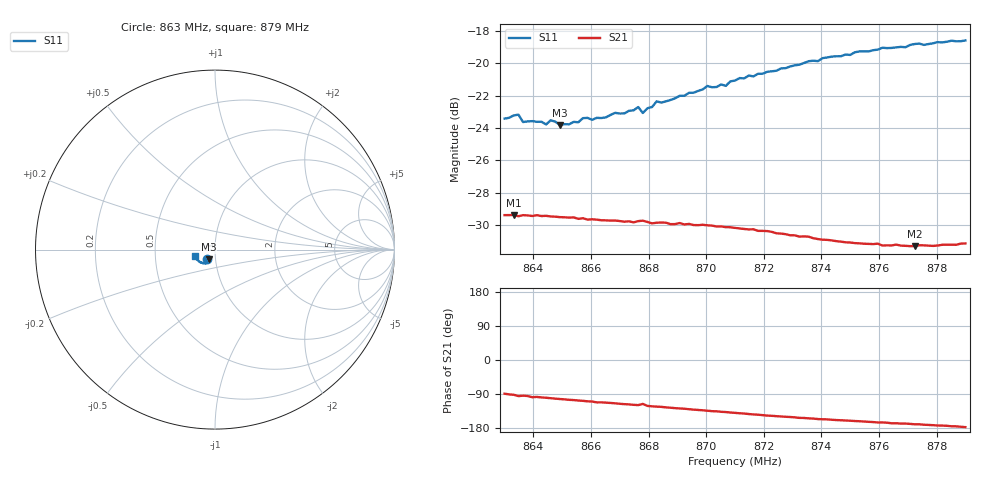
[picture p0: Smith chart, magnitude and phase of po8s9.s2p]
# HZ S RI R 50
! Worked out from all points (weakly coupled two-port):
!   101 points, 863 MHz to 879 MHz, reference 50 ohm
!   highest |S21| = -29.37 dB at 863.32 MHz (marker M1); lowest = -31.3 dB at 877.24 MHz (marker M2)
!   lowest |S11| = -23.8 dB at 864.92 MHz (marker M3), VSWR 1.14, Z = 46.3 - j5.03 ohm
!   |S11| at or under -10 dB: start of sweep to end of sweep
!   S12 and S22 are empty: the file has one direction only
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8.63e8  -0.0426 -0.0524  0.000651 -0.034  0 0  0 0
8.6332e8  -0.0431 -0.054  -0.00106 -0.034  0 0  0 0
8.6348e8  -0.0437 -0.054  -0.00307 -0.0336  0 0  0 0
8.6364e8  -0.0395 -0.0528  -0.00242 -0.0339  0 0  0 0
8.6428e8  -0.0362 -0.0552  -0.00517 -0.0333  0 0  0 0
8.6444e8  -0.0364 -0.0536  -0.00565 -0.0333  0 0  0 0
8.646e8  -0.0379 -0.0549  -0.0063 -0.033  0 0  0 0
8.6492e8  -0.0353 -0.0541  -0.00751 -0.0326  0 0  0 0
8.6556e8  -0.0338 -0.0565  -0.00963 -0.0316  0 0  0 0
8.6572e8  -0.0339 -0.0587  -0.0102 -0.0316  0 0  0 0
8.6652e8  -0.0324 -0.06  -0.0125 -0.0302  0 0  0 0
8.6764e8  -0.0354 -0.0642  -0.0158 -0.0285  0 0  0 0
8.678e8  -0.0343 -0.0614  -0.0143 -0.0294  0 0  0 0
8.6828e8  -0.0361 -0.0673  -0.0175 -0.027  0 0  0 0
8.6844e8  -0.0358 -0.0667  -0.0179 -0.0268  0 0  0 0
8.7004e8  -0.0428 -0.0737  -0.0218 -0.0228  0 0  0 0
8.7068e8  -0.0446 -0.0727  -0.0229 -0.0211  0 0  0 0
8.71e8  -0.0473 -0.0748  -0.0236 -0.0202  0 0  0 0
8.7372e8  -0.0686 -0.0755  -0.026 -0.0123  0 0  0 0
8.7644e8  -0.0925 -0.0627  -0.0267 -0.00617  0 0  0 0
8.7724e8  -0.1003 -0.0559  -0.0268 -0.00492  0 0  0 0
8.79e8  -0.1114 -0.0382  -0.0277 -0.00138  0 0  0 0
